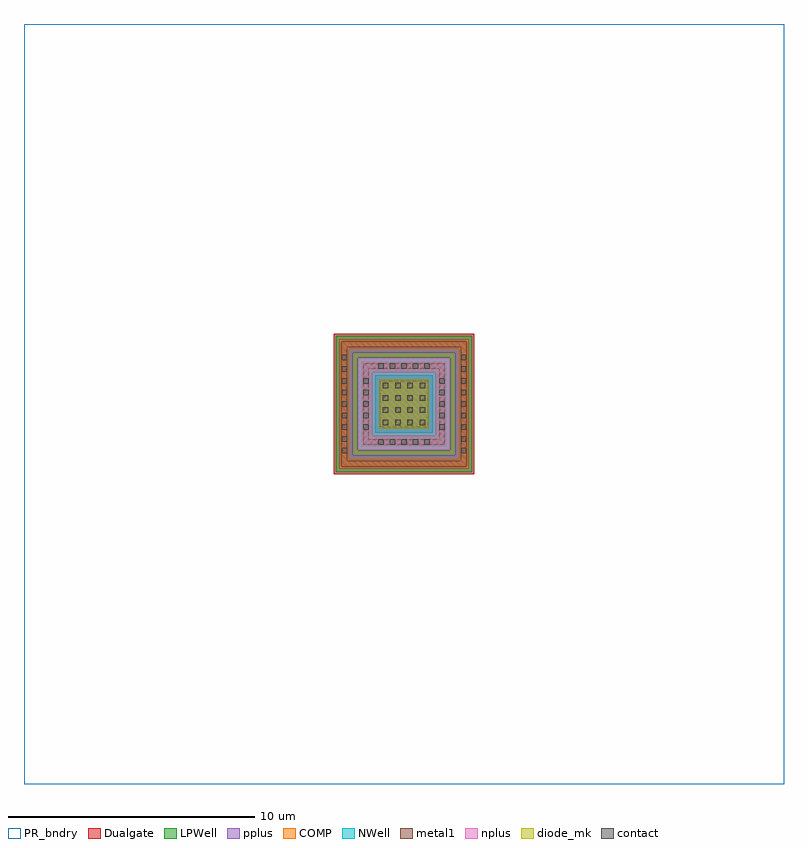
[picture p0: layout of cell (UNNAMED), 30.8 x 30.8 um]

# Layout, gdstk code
import gdstk
lib = gdstk.Library(unit=1e-6, precision=1e-09)
def R(c, l, rs):  # rectangles x0, y0, x1, y1
    for r in rs: c.add(gdstk.rectangle(r[:2], r[2:], *l))
def A(c, l, x, y, w, h, nx, ny, dx, dy):  # array of equal rectangles
    R(c, l, [(x+i*dx, y+j*dy, x+i*dx+w, y+j*dy+h) for i in range(nx) for j in range(ny)])
PR_bndry = (0, 0)
NWell = (21, 0)
COMP = (22, 0)
pplus = (31, 0)
nplus = (32, 0)
contact = (33, 0)
metal1 = (34, 0)
Dualgate = (55, 0)
diode_mk = (115, 5)
LPWell = (204, 0)

c__unnamed_ = lib.new_cell('(UNNAMED)')
R(c__unnamed_, PR_bndry, [(-15.4,-15.4,15.4,15.4)])
R(c__unnamed_, NWell, [(-1.88,-1.88,1.88,1.88)])
R(c__unnamed_, COMP, [(-2.6,-2.6,2.6,-2.24), (-2.6,-2.24,-2.24,2.24), (2.24,-2.24,2.6,2.24), (-1.72,-1.72,1.72,-1.36), (-1.72,-1.36,-1.36,1.36), (1.36,-1.36,1.72,1.36), (-1,-1,1,1), (-1.72,1.36,1.72,1.72), (-2.6,2.24,2.6,2.6)])
R(c__unnamed_, pplus, [(-2.62,-2.62,2.62,-2.115), (-2.63,-2.115,2.63,-2.08), (-2.63,-2.08,-2.08,2.08), (2.08,-2.08,2.63,2.08), (-1.16,-1.16,1.16,1.16), (-2.63,2.08,2.63,2.115), (-2.62,2.115,2.62,2.62)])
R(c__unnamed_, nplus, [(-1.88,-1.88,1.88,-1.29), (-1.88,-1.29,-1.29,1.29), (1.29,-1.29,1.88,1.29), (-1.88,1.29,1.88,1.88)])
A(c__unnamed_, contact, -2.53, -1.99, 0.22, 0.22, 1, 9, 0, 0.47)
A(c__unnamed_, contact, 2.31, -1.99, 0.22, 0.22, 1, 9, 0, 0.47)
A(c__unnamed_, contact, -1.05, -1.65, 0.22, 0.22, 5, 2, 0.47, 3.08)
A(c__unnamed_, contact, -1.65, -1.05, 0.22, 0.22, 1, 5, 0, 0.47)
A(c__unnamed_, contact, 1.43, -1.05, 0.22, 0.22, 1, 5, 0, 0.47)
A(c__unnamed_, contact, -0.86, -0.86, 0.22, 0.22, 4, 4, 0.5, 0.5)
R(c__unnamed_, metal1, [(-2.535,-2.535,2.535,-2.305), (-2.535,-2.305,-2.305,2.305), (2.305,-2.305,2.535,2.305), (-1.655,-1.655,1.655,-1.425), (-1.655,-1.425,-1.425,1.425), (1.425,-1.425,1.655,1.425), (-0.99,-0.935,0.99,0.935), (-1.655,1.425,1.655,1.655), (-2.535,2.305,2.535,2.535)])
R(c__unnamed_, Dualgate, [(-2.84,-2.84,2.84,2.84)])
R(c__unnamed_, diode_mk, [(-1,-1,1,1)])
R(c__unnamed_, LPWell, [(-2.76,-2.76,2.76,-1.88), (-2.76,-1.88,-1.88,1.88), (1.88,-1.88,2.76,1.88), (-2.76,1.88,2.76,2.76)])

lib.write_gds('_UNNAMED_.gds')
